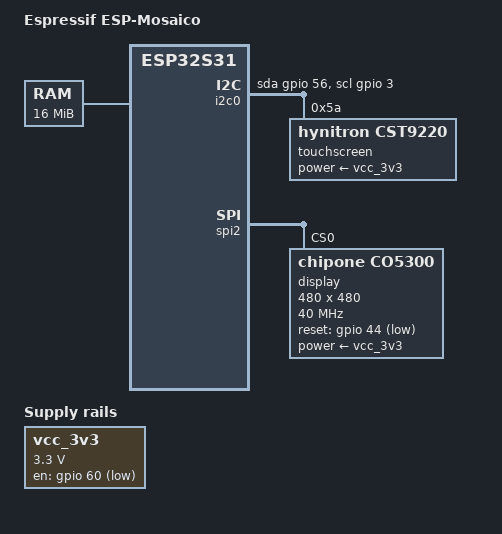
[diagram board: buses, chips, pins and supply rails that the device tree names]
// SPDX-License-Identifier: GPL-2.0+
/dts-v1/;

#include "esp32s31.dtsi"
#include <dt-bindings/gpio/gpio.h>
#include "include/dt-bindings/pinctrl/esp32s31-pinctrl.h"

/ {
	model = "Espressif ESP-Mosaico";
	compatible = "espressif,esp-mosaico", "espressif,esp32s31",
	    "esp,esp32s31";
	aliases { serial0 = &uart0; };
	chosen { stdout-path = "serial0:115200n8"; };

	vcc_3v3: regulator-vcc-3v3 {
		compatible = "regulator-fixed";
		regulator-name = "VCC_3V3";
		regulator-min-microvolt = <3300000>;
		regulator-max-microvolt = <3300000>;
		gpio = <&gpio 60 GPIO_ACTIVE_LOW>;
		regulator-always-on;
		regulator-boot-on;
		startup-delay-us = <10000>;
	};

	/* Shared sensor bus; standard-mode GPIO I2C during bring-up. */
	i2c0: i2c {
		compatible = "i2c-gpio";
		#address-cells = <1>;
		#size-cells = <0>;
		sda-gpios = <&gpio 56 GPIO_OPEN_DRAIN>;
		scl-gpios = <&gpio 3 GPIO_OPEN_DRAIN>;

		touchscreen@5a {
			compatible = "hynitron,cst9220";
			reg = <0x5a>;
			power-supply = <&vcc_3v3>;
		};
	};

	memory@50000000 {
		device_type = "memory";
		reg = <0x50000000 0x01000000>;
	};
};

&gpio {
	status = "okay";

	lcd_pins: lcd-pins {
		control {
			pinmux = <ESP32S31_PINMUX(42, ESP32S31_SIG_NONE,
			    ESP32S31_SPI2_CLK)>,
			    <ESP32S31_PINMUX(50, ESP32S31_SIG_NONE,
			    ESP32S31_SPI2_CS)>;
			output-enable;
			bias-disable;
		};
		data {
			pinmux = <ESP32S31_PINMUX(36, ESP32S31_SPI2_D,
			    ESP32S31_SPI2_D)>,
			    <ESP32S31_PINMUX(51, ESP32S31_SPI2_Q,
			    ESP32S31_SPI2_Q)>,
			    <ESP32S31_PINMUX(35, ESP32S31_SPI2_WP,
			    ESP32S31_SPI2_WP)>,
			    <ESP32S31_PINMUX(9, ESP32S31_SPI2_HD,
			    ESP32S31_SPI2_HD)>;
			input-enable;
			output-enable;
			bias-disable;
		};
	};
};

&spi2 {
	status = "okay";
	pinctrl-names = "default";
	pinctrl-0 = <&lcd_pins>;

	display@0 {
		compatible = "chipone,co5300";
		reg = <0>;
		spi-max-frequency = <40000000>;
		spi-tx-bus-width = <4>;
		width = <480>;
		height = <480>;
		reset-gpios = <&gpio 44 GPIO_ACTIVE_LOW>;
		power-supply = <&vcc_3v3>;
		/*
		 * Panel setup from esp-mosaico-bsp display.c, Apache-2.0,
		 * commit 7cbfb390638dcb93522fc3cde094b2d43cf907c2.
		 * Records: command, count, delay-ms (BE16), parameters.
		 * MADCTL=0, RGB565; TE is unused by the polling renderer.
		 */
		chipone,init-sequence = [
			36 01 00 00 00
			3a 01 00 00 55
			11 00 02 58
			fe 01 00 00 20
			19 01 00 00 10
			1c 01 00 00 a0
			fe 01 00 00 00
			c4 01 00 00 80
			3a 01 00 00 55
			53 01 00 00 20
			51 01 00 00 ff
			63 01 00 00 ff
			2a 04 00 00 00 00 01 df
			2b 04 00 00 00 00 01 df
			29 00 02 58
		];
	};
};
